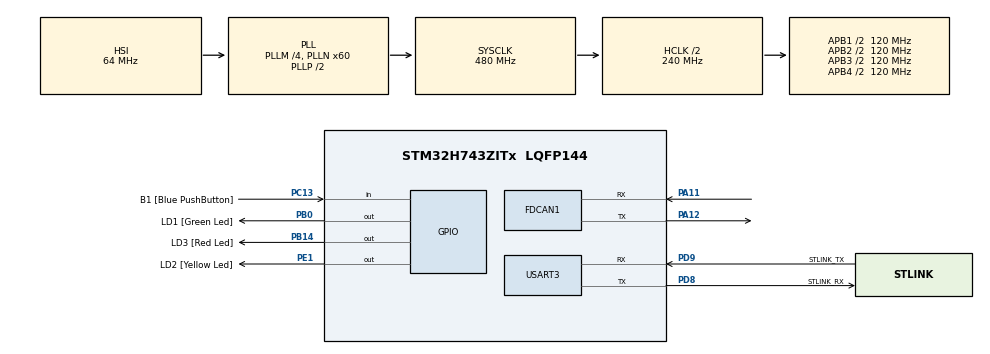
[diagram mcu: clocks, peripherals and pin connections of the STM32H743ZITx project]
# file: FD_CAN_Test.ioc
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FDCAN1.AutoRetransmission=ENABLE
FDCAN1.CalculateBaudRateNominal=1000000
FDCAN1.CalculateTimeBitNominal=1000
FDCAN1.CalculateTimeQuantumNominal=125.0
FDCAN1.ClockCalibrationCCU=DISABLE
FDCAN1.DataPrescaler=1
FDCAN1.DataSyncJumpWidth=10
FDCAN1.DataTimeSeg1=11
FDCAN1.DataTimeSeg2=4
FDCAN1.ExtFiltersNbr=1
FDCAN1.FrameFormat=FDCAN_FRAME_FD_NO_BRS
FDCAN1.Mode=FDCAN_MODE_EXTERNAL_LOOPBACK
FDCAN1.NominalPrescaler=10
FDCAN1.NominalSyncJumpWidth=2
FDCAN1.NominalTimeSeg1=5
FDCAN1.NominalTimeSeg2=2
FDCAN1.ProtocolException=ENABLE
FDCAN1.RxBufferSize=FDCAN_DATA_BYTES_64
FDCAN1.RxFifo0ElmtSize=FDCAN_DATA_BYTES_64
FDCAN1.RxFifo0ElmtsNbr=8
FDCAN1.RxFifo1ElmtSize=FDCAN_DATA_BYTES_64
FDCAN1.StdFiltersNbr=1
FDCAN1.TxElmtSize=FDCAN_DATA_BYTES_64
FDCAN1.TxEventsNbr=3
FDCAN1.TxFifoQueueElmtsNbr=3
Mcu.Family=STM32H7
Mcu.Name=STM32H743ZITx
Mcu.Package=LQFP144
NVIC.FDCAN1_IT0_IRQn=true\:0\:0\:false\:false\:true\:true\:true\:true
NVIC.PriorityGroup=NVIC_PRIORITYGROUP_4
PA11.GPIO_Speed=GPIO_SPEED_FREQ_VERY_HIGH
PA11.Mode=FDCAN_Activate
PA11.Signal=FDCAN1_RX
PA12.GPIO_Speed=GPIO_SPEED_FREQ_VERY_HIGH
PA12.Mode=FDCAN_Activate
PA12.Signal=FDCAN1_TX
PB0.GPIO_Label=LD1 [Green Led]
PB0.Signal=GPIO_Output
PB12.Signal=FDCAN2_RX
PB14.GPIO_Label=LD3 [Red Led]
PB14.Signal=GPIO_Output
PC13.GPIO_Label=B1 [Blue PushButton]
PC13.Signal=GPIO_Input
PC14-OSC32_IN\ (OSC32_IN).Mode=LSE-External-Oscillator
PC14-OSC32_IN\ (OSC32_IN).Signal=RCC_OSC32_IN
PC15-OSC32_OUT\ (OSC32_OUT).Mode=LSE-External-Oscillator
PC15-OSC32_OUT\ (OSC32_OUT).Signal=RCC_OSC32_OUT
PD8.GPIO_Label=STLINK_RX
PD8.Mode=Asynchronous
PD8.Signal=USART3_TX
PD9.GPIO_Label=STLINK_TX
PD9.Mode=Asynchronous
PD9.Signal=USART3_RX
PE1.GPIO_Label=LD2 [Yellow Led]
PE1.Signal=GPIO_Output
PH0-OSC_IN\ (PH0).Mode=HSE-External-Oscillator
PH0-OSC_IN\ (PH0).Signal=RCC_OSC_IN
PH1-OSC_OUT\ (PH1).Mode=HSE-External-Oscillator
PH1-OSC_OUT\ (PH1).Signal=RCC_OSC_OUT
ProjectManager.HeapSize=0x200
ProjectManager.StackSize=0x400
ProjectManager.TargetToolchain=STM32CubeIDE
RCC.ADCFreq_Value=80000000
RCC.APB1Freq_Value=120000000
RCC.APB2Freq_Value=120000000
RCC.APB3Freq_Value=120000000
RCC.APB4Freq_Value=120000000
RCC.CortexFreq_Value=480000000
RCC.D1PPRE=RCC_APB3_DIV2
RCC.D2PPRE1=RCC_APB1_DIV2
RCC.D2PPRE2=RCC_APB2_DIV2
RCC.D3PPRE=RCC_APB4_DIV2
RCC.DIVM1=4
RCC.DIVN1=60
RCC.DIVN2=80
RCC.DIVQ1=8
RCC.FDCANCLockSelection=RCC_FDCANCLKSOURCE_PLL2
RCC.HCLKFreq_Value=240000000
RCC.HPRE=RCC_HCLK_DIV2
RCC.HSE_VALUE=8000000
RCC.PLLFRACN=0
RCC.PWR_Regulator_Voltage_Scale=PWR_REGULATOR_VOLTAGE_SCALE0
RCC.ProductRev=revV
RCC.SYSCLKFreq_VALUE=480000000
RCC.SYSCLKSource=RCC_SYSCLKSOURCE_PLLCLK
RCC.USBFreq_Value=120000000
USART3.VirtualMode-Asynchronous=VM_ASYNC
board=NUCLEO-H743ZI2

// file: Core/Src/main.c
/* USER CODE BEGIN Header */
/**
  ******************************************************************************
  * @file           : main.c
  * @brief          : Main program body
  ******************************************************************************
  * @attention
  *
  * Copyright (c) 2023 STMicroelectronics.
  * All rights reserved.
  *
  * This software is licensed under terms that can be found in the LICENSE file
  * in the root directory of this software component.
  * If no LICENSE file comes with this software, it is provided AS-IS.
  *
  ******************************************************************************
  */
/* USER CODE END Header */
#include "main.h"

FDCAN_HandleTypeDef hfdcan1;

UART_HandleTypeDef huart3;

void SystemClock_Config(void);
static void MX_GPIO_Init(void);
static void MX_USART3_UART_Init(void);
static void MX_FDCAN1_Init(void);

/* USER CODE BEGIN 0 */
FDCAN_TxHeaderTypeDef TxHeader;
FDCAN_RxHeaderTypeDef RxHeader;
uint8_t TxData[64];
uint8_t RxData[64];
int idx = 0;

void HAL_FDCAN_RxFifo0Callback(FDCAN_HandleTypeDef *hfdcan, uint32_t RxFifo0ITs){
	if((RxFifo0ITs & FDCAN_IT_RX_FIFO0_NEW_MESSAGE)!= RESET){
		if(HAL_FDCAN_GetRxMessage(&hfdcan1, FDCAN_RX_FIFO0, &RxHeader, RxData) != HAL_OK){
			Error_Handler();
		}
//		if(HAL_FDCAN_ActivateNotification(&hfdcan1, FDCAN_IT_RX_FIFO0_NEW_MESSAGE, 0) != HAL_OK){
//			Error_Handler();
//		}
	}
}
/* USER CODE END 0 */

int main(void)
{

  /* MCU Configuration--------------------------------------------------------*/

  /* Reset of all peripherals, Initializes the Flash interface and the Systick. */
  HAL_Init();

  /* Configure the system clock */
  SystemClock_Config();

  /* Initialize all configured peripherals */
  MX_GPIO_Init();
  MX_USART3_UART_Init();
  MX_FDCAN1_Init();
  /* USER CODE BEGIN 2 */
  if (HAL_FDCAN_Start(&hfdcan1) != HAL_OK){
	  Error_Handler();
  }
  if(HAL_FDCAN_ActivateNotification(&hfdcan1, FDCAN_IT_RX_FIFO0_NEW_MESSAGE, 0) != HAL_OK){
	Error_Handler();
  }

  TxHeader.Identifier = 0x01;
  TxHeader.TxFrameType = FDCAN_DATA_FRAME;
  TxHeader.DataLength = FDCAN_DLC_BYTES_64;
  TxHeader.ErrorStateIndicator = FDCAN_ESI_ACTIVE;
  TxHeader.BitRateSwitch = FDCAN_BRS_ON;
  TxHeader.FDFormat = FDCAN_FD_CAN;
  TxHeader.TxEventFifoControl = FDCAN_STORE_TX_EVENTS;
  TxHeader.MessageMarker = 0;
  /* USER CODE END 2 */

  /* Infinite loop */
  while (1)
  {

    /* USER CODE BEGIN 3 */
	  for (int i=0; i<64;i++){
		  TxData[i] = idx++;
	  }
	  if(HAL_FDCAN_AddMessageToTxFifoQ(&hfdcan1, &TxHeader, TxData) != HAL_OK){
		  Error_Handler();
	  }

	  HAL_Delay(1000);
  }
  /* USER CODE END 3 */
}

void SystemClock_Config(void)
{
  RCC_OscInitTypeDef RCC_OscInitStruct = {0};
  RCC_ClkInitTypeDef RCC_ClkInitStruct = {0};

  /** Supply configuration update enable
  */
  HAL_PWREx_ConfigSupply(PWR_LDO_SUPPLY);

  /** Configure the main internal regulator output voltage
  */
  __HAL_PWR_VOLTAGESCALING_CONFIG(PWR_REGULATOR_VOLTAGE_SCALE1);

  while(!__HAL_PWR_GET_FLAG(PWR_FLAG_VOSRDY)) {}

  __HAL_RCC_SYSCFG_CLK_ENABLE();
  __HAL_PWR_VOLTAGESCALING_CONFIG(PWR_REGULATOR_VOLTAGE_SCALE0);

  while(!__HAL_PWR_GET_FLAG(PWR_FLAG_VOSRDY)) {}

  /** Macro to configure the PLL clock source
  */
  __HAL_RCC_PLL_PLLSOURCE_CONFIG(RCC_PLLSOURCE_HSI);

  /** Initializes the RCC Oscillators according to the specified parameters
  * in the RCC_OscInitTypeDef structure.
  */
  RCC_OscInitStruct.OscillatorType = RCC_OSCILLATORTYPE_HSI;
  RCC_OscInitStruct.HSIState = RCC_HSI_DIV1;
  RCC_OscInitStruct.HSICalibrationValue = RCC_HSICALIBRATION_DEFAULT;
  RCC_OscInitStruct.PLL.PLLState = RCC_PLL_ON;
  RCC_OscInitStruct.PLL.PLLSource = RCC_PLLSOURCE_HSI;
  RCC_OscInitStruct.PLL.PLLM = 4;
  RCC_OscInitStruct.PLL.PLLN = 60;
  RCC_OscInitStruct.PLL.PLLP = 2;
  RCC_OscInitStruct.PLL.PLLQ = 8;
  RCC_OscInitStruct.PLL.PLLR = 2;
  RCC_OscInitStruct.PLL.PLLRGE = RCC_PLL1VCIRANGE_3;
  RCC_OscInitStruct.PLL.PLLVCOSEL = RCC_PLL1VCOWIDE;
  RCC_OscInitStruct.PLL.PLLFRACN = 0;
  if (HAL_RCC_OscConfig(&RCC_OscInitStruct) != HAL_OK)
  {
    Error_Handler();
  }

  /** Initializes the CPU, AHB and APB buses clocks
  */
  RCC_ClkInitStruct.ClockType = RCC_CLOCKTYPE_HCLK|RCC_CLOCKTYPE_SYSCLK
                              |RCC_CLOCKTYPE_PCLK1|RCC_CLOCKTYPE_PCLK2
                              |RCC_CLOCKTYPE_D3PCLK1|RCC_CLOCKTYPE_D1PCLK1;
  RCC_ClkInitStruct.SYSCLKSource = RCC_SYSCLKSOURCE_PLLCLK;
  RCC_ClkInitStruct.SYSCLKDivider = RCC_SYSCLK_DIV1;
  RCC_ClkInitStruct.AHBCLKDivider = RCC_HCLK_DIV2;
  RCC_ClkInitStruct.APB3CLKDivider = RCC_APB3_DIV2;
  RCC_ClkInitStruct.APB1CLKDivider = RCC_APB1_DIV2;
  RCC_ClkInitStruct.APB2CLKDivider = RCC_APB2_DIV2;
  RCC_ClkInitStruct.APB4CLKDivider = RCC_APB4_DIV2;

  if (HAL_RCC_ClockConfig(&RCC_ClkInitStruct, FLASH_LATENCY_4) != HAL_OK)
  {
    Error_Handler();
  }
}

static void MX_FDCAN1_Init(void)
{

  hfdcan1.Instance = FDCAN1;
  hfdcan1.Init.FrameFormat = FDCAN_FRAME_FD_NO_BRS;
  hfdcan1.Init.Mode = FDCAN_MODE_EXTERNAL_LOOPBACK;
  hfdcan1.Init.AutoRetransmission = ENABLE;
  hfdcan1.Init.TransmitPause = DISABLE;
  hfdcan1.Init.ProtocolException = ENABLE;
  hfdcan1.Init.NominalPrescaler = 10;
  hfdcan1.Init.NominalSyncJumpWidth = 2;
  hfdcan1.Init.NominalTimeSeg1 = 5;
  hfdcan1.Init.NominalTimeSeg2 = 2;
  hfdcan1.Init.DataPrescaler = 1;
  hfdcan1.Init.DataSyncJumpWidth = 10;
  hfdcan1.Init.DataTimeSeg1 = 11;
  hfdcan1.Init.DataTimeSeg2 = 4;
  hfdcan1.Init.MessageRAMOffset = 0;
  hfdcan1.Init.StdFiltersNbr = 1;
  hfdcan1.Init.ExtFiltersNbr = 1;
  hfdcan1.Init.RxFifo0ElmtsNbr = 8;
  hfdcan1.Init.RxFifo0ElmtSize = FDCAN_DATA_BYTES_64;
  hfdcan1.Init.RxFifo1ElmtsNbr = 0;
  hfdcan1.Init.RxFifo1ElmtSize = FDCAN_DATA_BYTES_64;
  hfdcan1.Init.RxBuffersNbr = 0;
  hfdcan1.Init.RxBufferSize = FDCAN_DATA_BYTES_64;
  hfdcan1.Init.TxEventsNbr = 3;
  hfdcan1.Init.TxBuffersNbr = 0;
  hfdcan1.Init.TxFifoQueueElmtsNbr = 3;
  hfdcan1.Init.TxFifoQueueMode = FDCAN_TX_FIFO_OPERATION;
  hfdcan1.Init.TxElmtSize = FDCAN_DATA_BYTES_64;
  if (HAL_FDCAN_Init(&hfdcan1) != HAL_OK)
  {
    Error_Handler();
  }

}

static void MX_USART3_UART_Init(void)
{

  huart3.Instance = USART3;
  huart3.Init.BaudRate = 115200;
  huart3.Init.WordLength = UART_WORDLENGTH_8B;
  huart3.Init.StopBits = UART_STOPBITS_1;
  huart3.Init.Parity = UART_PARITY_NONE;
  huart3.Init.Mode = UART_MODE_TX_RX;
  huart3.Init.HwFlowCtl = UART_HWCONTROL_NONE;
  huart3.Init.OverSampling = UART_OVERSAMPLING_16;
  huart3.Init.OneBitSampling = UART_ONE_BIT_SAMPLE_DISABLE;
  huart3.Init.ClockPrescaler = UART_PRESCALER_DIV1;
  huart3.AdvancedInit.AdvFeatureInit = UART_ADVFEATURE_NO_INIT;
  if (HAL_UART_Init(&huart3) != HAL_OK)
  {
    Error_Handler();
  }
  if (HAL_UARTEx_SetTxFifoThreshold(&huart3, UART_TXFIFO_THRESHOLD_1_8) != HAL_OK)
  {
    Error_Handler();
  }
  if (HAL_UARTEx_SetRxFifoThreshold(&huart3, UART_RXFIFO_THRESHOLD_1_8) != HAL_OK)
  {
    Error_Handler();
  }
  if (HAL_UARTEx_DisableFifoMode(&huart3) != HAL_OK)
  {
    Error_Handler();
  }

}

static void MX_GPIO_Init(void)
{
  GPIO_InitTypeDef GPIO_InitStruct = {0};

  /* GPIO Ports Clock Enable */
  __HAL_RCC_GPIOC_CLK_ENABLE();
  __HAL_RCC_GPIOH_CLK_ENABLE();
  __HAL_RCC_GPIOB_CLK_ENABLE();
  __HAL_RCC_GPIOD_CLK_ENABLE();
  __HAL_RCC_GPIOA_CLK_ENABLE();
  __HAL_RCC_GPIOE_CLK_ENABLE();

  /*Configure GPIO pin Output Level */
  HAL_GPIO_WritePin(GPIOB, LD1_Pin|LD3_Pin, GPIO_PIN_RESET);

  /*Configure GPIO pin Output Level */
  HAL_GPIO_WritePin(LD2_GPIO_Port, LD2_Pin, GPIO_PIN_RESET);

  /*Configure GPIO pin : B1_Pin */
  GPIO_InitStruct.Pin = B1_Pin;
  GPIO_InitStruct.Mode = GPIO_MODE_INPUT;
  GPIO_InitStruct.Pull = GPIO_NOPULL;
  HAL_GPIO_Init(B1_GPIO_Port, &GPIO_InitStruct);

  /*Configure GPIO pins : LD1_Pin LD3_Pin */
  GPIO_InitStruct.Pin = LD1_Pin|LD3_Pin;
  GPIO_InitStruct.Mode = GPIO_MODE_OUTPUT_PP;
  GPIO_InitStruct.Pull = GPIO_NOPULL;
  GPIO_InitStruct.Speed = GPIO_SPEED_FREQ_LOW;
  HAL_GPIO_Init(GPIOB, &GPIO_InitStruct);

  /*Configure GPIO pin : PB12 */
  GPIO_InitStruct.Pin = GPIO_PIN_12;
  GPIO_InitStruct.Mode = GPIO_MODE_AF_PP;
  GPIO_InitStruct.Pull = GPIO_NOPULL;
  GPIO_InitStruct.Speed = GPIO_SPEED_FREQ_LOW;
  GPIO_InitStruct.Alternate = GPIO_AF9_FDCAN2;
  HAL_GPIO_Init(GPIOB, &GPIO_InitStruct);

  /*Configure GPIO pin : LD2_Pin */
  GPIO_InitStruct.Pin = LD2_Pin;
  GPIO_InitStruct.Mode = GPIO_MODE_OUTPUT_PP;
  GPIO_InitStruct.Pull = GPIO_NOPULL;
  GPIO_InitStruct.Speed = GPIO_SPEED_FREQ_LOW;
  HAL_GPIO_Init(LD2_GPIO_Port, &GPIO_InitStruct);

}

void Error_Handler(void)
{
  __disable_irq();
  while (1)
  {
  }
}
